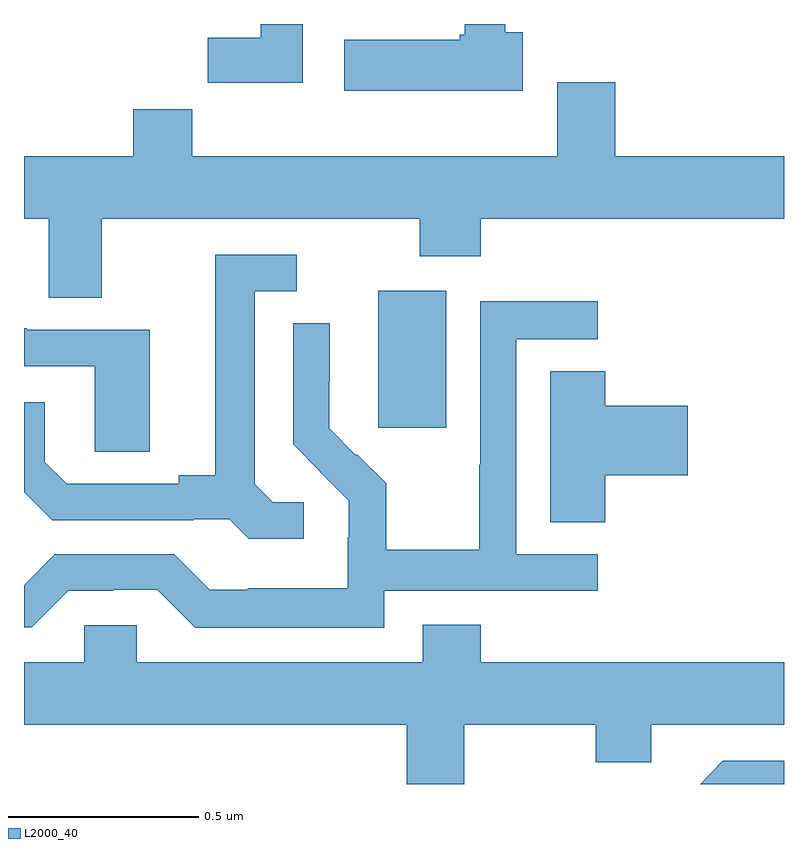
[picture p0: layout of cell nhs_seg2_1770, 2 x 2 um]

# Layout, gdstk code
import gdstk
lib = gdstk.Library(unit=1e-6, precision=1e-09)
def R(c, l, rs):  # rectangles x0, y0, x1, y1
    for r in rs: c.add(gdstk.rectangle(r[:2], r[2:], *l))
def P(c, l, *ps):  # polygons
    for p in ps: c.add(gdstk.Polygon(p, *l))
L2000_40 = (2000, 40)

nhs_seg2_1770 = lib.new_cell('nhs_seg2_1770')
R(nhs_seg2_1770, L2000_40, [(132.932,661.737,133.111,662.098)])
P(nhs_seg2_1770, L2000_40, [(132.733,662.8),(132.623,662.8),(132.623,662.764),(132.484,662.764),(132.484,662.646),(132.733,662.646)],
  [(133.312,662.778),(133.267,662.778),(133.267,662.8),(133.16,662.8),(133.16,662.772),(133.147,662.772),(133.147,662.758),(132.843,662.758),(132.843,662.624),(133.312,662.624)],
  [(132.205,662.288),(133.042,662.288),(133.042,662.189),(133.202,662.189),(133.202,662.288),(134,662.288),(134,662.452),(133.556,662.452),(133.556,662.647),(133.403,662.647),(133.403,662.452),(132.443,662.452),(132.443,662.576),(132.287,662.576),(132.287,662.452),(132,662.452),(132,662.288),(132.065,662.288),(132.065,662.08),(132.205,662.08)],
  [(132.736,661.542),(132.654,661.542),(132.607,661.589),(132.607,662.097),(132.718,662.097),(132.718,662.193),(132.503,662.193),(132.503,661.613),(132.407,661.613),(132.407,661.59),(132.112,661.59),(132.055,661.647),(132.055,661.804),(132,661.804),(132,661.568),(132.074,661.494),(132.446,661.494),(132.446,661.497),(132.54,661.497),(132.592,661.445),(132.736,661.445)],
  [(132.948,661.308),(133.51,661.308),(133.51,661.404),(133.296,661.404),(133.296,661.971),(133.51,661.971),(133.51,662.07),(133.2,662.07),(133.2,661.64),(133.198,661.64),(133.198,661.417),(132.953,661.417),(132.953,661.591),(132.876,661.668),(132.873,661.665),(132.803,661.736),(132.803,661.858),(132.804,661.858),(132.804,662.012),(132.708,662.012),(132.708,661.694),(132.781,661.621),(132.78,661.62),(132.854,661.546),(132.854,661.449),(132.852,661.449),(132.852,661.315),(132.589,661.315),(132.589,661.311),(132.489,661.311),(132.396,661.404),(132.081,661.404),(132,661.323),(132,661.212),(132.021,661.212),(132.117,661.308),(132.236,661.308),(132.236,661.311),(132.351,661.311),(132.451,661.211),(132.948,661.211)],
  [(132.331,661.995),(132.007,661.995),(132.007,661.999),(132,661.999),(132,661.899),(132.186,661.899),(132.186,661.675),(132.331,661.675)],
  [(133.529,661.613),(133.747,661.613),(133.747,661.796),(133.529,661.796),(133.529,661.886),(133.385,661.886),(133.385,661.489),(133.529,661.489)],
  [(133.159,660.956),(133.504,660.956),(133.504,660.857),(133.651,660.857),(133.651,660.956),(134,660.956),(134,661.12),(133.202,661.12),(133.202,661.219),(133.049,661.219),(133.049,661.12),(132.297,661.12),(132.297,661.218),(132.159,661.218),(132.159,661.12),(132,661.12),(132,660.956),(133.007,660.956),(133.007,660.8),(133.159,660.8)],
  [(134,660.861),(133.839,660.861),(133.779,660.8),(134,660.8)])

lib.write_gds('nhs_seg2_1770.gds')
